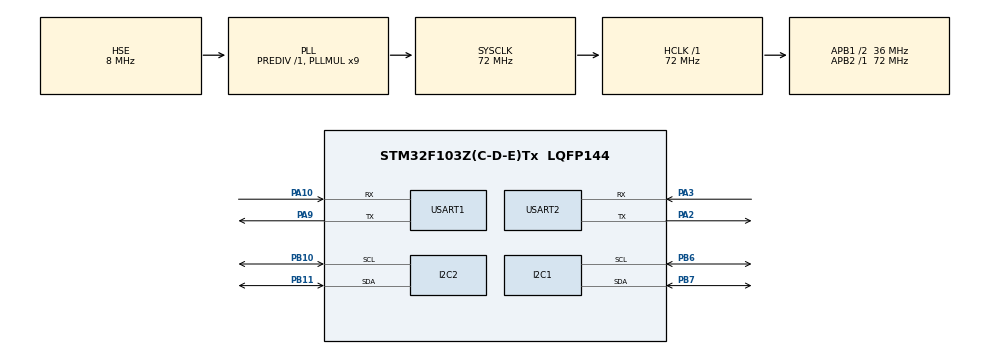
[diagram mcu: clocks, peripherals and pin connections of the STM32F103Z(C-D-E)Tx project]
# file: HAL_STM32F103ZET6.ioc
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Mcu.Family=STM32F1
Mcu.Name=STM32F103Z(C-D-E)Tx
Mcu.Package=LQFP144
NVIC.PriorityGroup=NVIC_PRIORITYGROUP_4
OSC_IN.Mode=HSE-External-Oscillator
OSC_IN.Signal=RCC_OSC_IN
OSC_OUT.Mode=HSE-External-Oscillator
OSC_OUT.Signal=RCC_OSC_OUT
PA10.Mode=Asynchronous
PA10.Signal=USART1_RX
PA13.Mode=Serial_Wire
PA13.Signal=SYS_JTMS-SWDIO
PA14.Mode=Serial_Wire
PA14.Signal=SYS_JTCK-SWCLK
PA2.Mode=Asynchronous
PA2.Signal=USART2_TX
PA3.Mode=Asynchronous
PA3.Signal=USART2_RX
PA9.Mode=Asynchronous
PA9.Signal=USART1_TX
PB10.Mode=I2C
PB10.Signal=I2C2_SCL
PB11.Mode=I2C
PB11.Signal=I2C2_SDA
PB6.Mode=I2C
PB6.Signal=I2C1_SCL
PB7.Mode=I2C
PB7.Signal=I2C1_SDA
ProjectManager.HeapSize=0x200
ProjectManager.StackSize=0x400
ProjectManager.TargetToolchain=SW4STM32
RCC.AHBFreq_Value=72000000
RCC.APB1CLKDivider=RCC_HCLK_DIV2
RCC.APB1Freq_Value=36000000
RCC.APB1TimFreq_Value=72000000
RCC.APB2Freq_Value=72000000
RCC.APB2TimFreq_Value=72000000
RCC.HCLKFreq_Value=72000000
RCC.PLLMUL=RCC_PLL_MUL9
RCC.PLLSourceVirtual=RCC_PLLSOURCE_HSE
RCC.SYSCLKFreq_VALUE=72000000
RCC.SYSCLKSource=RCC_SYSCLKSOURCE_PLLCLK
RCC.USBFreq_Value=72000000
USART1.VirtualMode=VM_ASYNC
USART2.VirtualMode=VM_ASYNC
VP_RTC_VS_RTC_Activate.Mode=RTC_Enabled
VP_TIM1_VS_ClockSourceINT.Mode=Internal
VP_TIM2_VS_ClockSourceINT.Mode=Internal
board=custom

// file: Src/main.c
/* USER CODE BEGIN Header */
/**
  ******************************************************************************
  * @file           : main.c
  * @brief          : Main program body
  ******************************************************************************
  * @attention
  *
  * Copyright (c) 2024 STMicroelectronics.
  * All rights reserved.
  *
  * This software is licensed under terms that can be found in the LICENSE file
  * in the root directory of this software component.
  * If no LICENSE file comes with this software, it is provided AS-IS.
  *
  ******************************************************************************
  */
/* USER CODE END Header */
#include "main.h"
#include "i2c.h"
#include "rtc.h"
#include "tim.h"
#include "usart.h"
#include "gpio.h"

/* USER CODE BEGIN Includes */
#include "dht11.h"
#include "bh1750.h"
#include "sgp30.h"
#include "stdio.h"
#include "oled.h"
#include "oledfont.h"
#include "string.h"
#include "stdlib.h"
/* USER CODE END Includes */

void SystemClock_Config(void);

int main(void) {
    /* USER CODE BEGIN 1 */
    uint8_t tempH, tempL;
    uint8_t humH, humL;
    uint32_t CO2Data, TVOCData;
    uint32_t SGP30Data;
    char temp_a[3];
    char temp_b[3];
    /* USER CODE END 1 */

    /* MCU Configuration--------------------------------------------------------*/

    /* Reset of all peripherals, Initializes the Flash interface and the Systick. */
    HAL_Init();

    /* Configure the system clock */
    SystemClock_Config();

    /* Initialize all configured peripherals */
    MX_GPIO_Init();
    MX_I2C1_Init();
    MX_I2C2_Init();
    MX_RTC_Init();
    MX_TIM1_Init();
    MX_TIM2_Init();
    MX_USART1_UART_Init();
    MX_USART2_UART_Init();
    /* USER CODE BEGIN 2 */
    OLED_Init();
    OLED_Clear();
    DHT11_Init();
    Init_BH1750();
    SGP30_Init();
    HAL_Delay(100);
    SGP30_Write(0x20,0x08);
    SGP30Data=SGP30_Read();
    CO2Data=(SGP30Data&0xffff0000)>>16;
    TVOCData=SGP30Data&0x0000ffff;
    while (CO2Data==400 &&TVOCData==0){
        SGP30_Write(0x20,0x08);
        SGP30Data=SGP30_Read();
        CO2Data=(SGP30Data&0xffff0000)>>16;
        TVOCData=SGP30Data&0x0000ffff;
        printf("检测中....\r\n");
        HAL_Delay(500);
    }
    OLED_ShowChinese(0, 0, TEMP, 0);//温
    OLED_ShowChinese(16, 0, TEMP, 1);//度
    OLED_ShowChinese(32, 0, MAO, 0);//:
    OLED_ShowChinese(82, 0, C, 0);//℃
    OLED_ShowChinese(0, 2, HUM, 0);//湿
    OLED_ShowChinese(16, 2, HUM, 0);//度
    OLED_ShowChinese(32, 2, MAO, 0);//:
    OLED_ShowString(82, 2, "%", 16);
    OLED_ShowChinese(0, 4, LIGHT, 0);//光
    OLED_ShowChinese(16, 4, LIGHT, 1);//照
    OLED_ShowChinese(32, 4, LIGHT, 2);//强
    OLED_ShowChinese(48, 4, LIGHT, 3);//度
    OLED_ShowChinese(64, 4, MAO, 0);//:
    OLED_ShowString(112, 4, "lx", 16);
//    OLED_ShowChinese(0, 6, AIR, 0);//空
//    OLED_ShowChinese(16, 6, AIR, 1);//气
    OLED_ShowString(0,6,"CO2",16);
    OLED_ShowChinese(26, 6, AIR, 0);//浓
    OLED_ShowChinese(42, 6, AIR, 1);//度
    OLED_ShowChinese(58, 6, MAO, 0);//:
    OLED_ShowString(100, 6, "ppd", 16);
    /* USER CODE END 2 */

    /* Infinite loop */
    /* USER CODE BEGIN WHILE */
    while (1) {
        SGP30_Write(0x20,0x08);
        SGP30Data=SGP30_Read();
        CO2Data=(SGP30Data&0xffff0000)>>16;
        TVOCData=SGP30Data&0x0000ffff;
        DHT11_Read_Data(&humH,&humL,&tempH,&tempL);
        printf("Temp:%d.%d\r\n,Hum:%d.%d\r\n",tempH,tempL,humH,humL);
        printf("Light:%d lx\r\n,CO2:%d ppd\r\n",Value_GY30(),CO2Data);

        OLED_ShowNum(48,0,tempH,2,16);//温度
        OLED_ShowChar(64,0,'.',16);
        OLED_ShowNum(66,0,tempL,2,16);

        OLED_ShowNum(48,2,humH,2,16);//湿度
        OLED_ShowChar(64,2,'.',16);
        OLED_ShowNum(66,2,humL,2,16);

        OLED_ShowNum(80,4,Value_GY30(),3,16);//光照强度
        OLED_ShowNum(74,6,CO2Data,3,16);//CO2浓度
        HAL_Delay(500);
        /* USER CODE END WHILE */

    }
}

void SystemClock_Config(void) {
    RCC_OscInitTypeDef RCC_OscInitStruct = {0};
    RCC_ClkInitTypeDef RCC_ClkInitStruct = {0};
    RCC_PeriphCLKInitTypeDef PeriphClkInit = {0};

    /** Initializes the RCC Oscillators according to the specified parameters
    * in the RCC_OscInitTypeDef structure.
    */
    RCC_OscInitStruct.OscillatorType = RCC_OSCILLATORTYPE_LSI | RCC_OSCILLATORTYPE_HSE;
    RCC_OscInitStruct.HSEState = RCC_HSE_ON;
    RCC_OscInitStruct.HSEPredivValue = RCC_HSE_PREDIV_DIV1;
    RCC_OscInitStruct.HSIState = RCC_HSI_ON;
    RCC_OscInitStruct.LSIState = RCC_LSI_ON;
    RCC_OscInitStruct.PLL.PLLState = RCC_PLL_ON;
    RCC_OscInitStruct.PLL.PLLSource = RCC_PLLSOURCE_HSE;
    RCC_OscInitStruct.PLL.PLLMUL = RCC_PLL_MUL9;
    if (HAL_RCC_OscConfig(&RCC_OscInitStruct) != HAL_OK) {
        Error_Handler();
    }

    /** Initializes the CPU, AHB and APB buses clocks
    */
    RCC_ClkInitStruct.ClockType = RCC_CLOCKTYPE_HCLK | RCC_CLOCKTYPE_SYSCLK
                                  | RCC_CLOCKTYPE_PCLK1 | RCC_CLOCKTYPE_PCLK2;
    RCC_ClkInitStruct.SYSCLKSource = RCC_SYSCLKSOURCE_PLLCLK;
    RCC_ClkInitStruct.AHBCLKDivider = RCC_SYSCLK_DIV1;
    RCC_ClkInitStruct.APB1CLKDivider = RCC_HCLK_DIV2;
    RCC_ClkInitStruct.APB2CLKDivider = RCC_HCLK_DIV1;

    if (HAL_RCC_ClockConfig(&RCC_ClkInitStruct, FLASH_LATENCY_2) != HAL_OK) {
        Error_Handler();
    }
    PeriphClkInit.PeriphClockSelection = RCC_PERIPHCLK_RTC;
    PeriphClkInit.RTCClockSelection = RCC_RTCCLKSOURCE_LSI;
    if (HAL_RCCEx_PeriphCLKConfig(&PeriphClkInit) != HAL_OK) {
        Error_Handler();
    }
}

void Error_Handler(void) {
    __disable_irq();
    while (1) {
    }
}
